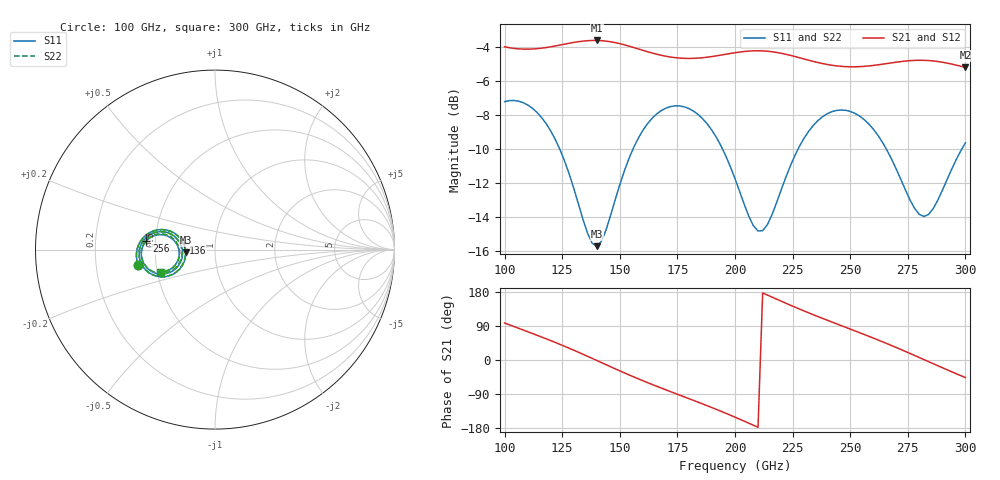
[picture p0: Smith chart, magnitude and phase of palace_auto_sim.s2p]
#  GHZ S DB R 50
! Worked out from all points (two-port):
!   101 points, 100 GHz to 300 GHz, reference 50 ohm
!   highest |S21| = -3.61 dB at 140 GHz (marker M1); lowest = -5.2 dB at 300 GHz (marker M2)
!   |S21| within 3 dB of the highest: start of sweep to end of sweep
!   lowest |S11| = -15.7 dB at 140 GHz (marker M3), VSWR 1.39, Z = 36 - j1.1 ohm
!   |S11| at or under -10 dB: 123.9 GHz to 155.7 GHz (31.83 GHz wide, 22.8 % of centre); 194.6 GHz to 227.4 GHz (32.83 GHz wide, 15.6 % of centre); 265.7 GHz to 298.5 GHz (32.8 GHz wide, 11.6 % of centre)
!   |S22| runs from -15.6 to -7.1 dB; largest |S21 - S12| = 1e-13
!   S11 on the Smith chart (normalised r, x): 100 GHz: 0.40, -0.09; 136 GHz: 0.70, +0.05; 256 GHz: 0.44, +0.05; 300 GHz: 0.52, -0.15
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100  -7.21 -168.4  -3.99 97.7  -3.99 97.7  -7.21 -168.4
108  -7.27 179.3  -4.12 79.3  -4.12 79.3  -7.26 179.3
118  -8.50 165.4  -4.03 56.0  -4.03 56.0  -8.49 165.5
126  -10.70 158.0  -3.83 36.2  -3.83 36.2  -10.67 158.2
134  -14.13 163.2  -3.65 15.2  -3.65 15.2  -14.07 163.4
136  -14.96 168.8  -3.63 9.7  -3.63 9.7  -14.88 168.9
140  -15.72 -174.8  -3.61 -1.3  -3.61 -1.3  -15.63 -174.9
146  -13.91 -154.1  -3.69 -17.8  -3.69 -17.8  -13.85 -154.4
154  -10.55 -150.3  -3.95 -39.3  -3.95 -39.3  -10.53 -150.6
168  -7.74 -165.9  -4.48 -74.0  -4.48 -74.0  -7.73 -166.1
184  -7.97 172.3  -4.65 -111.3  -4.65 -111.3  -7.95 172.3
200  -11.75 160.5  -4.33 -150.8  -4.33 -150.8  -11.68 160.7
208  -14.52 173.8  -4.22 -172.1  -4.22 -172.1  -14.38 173.7
212  -14.81 -172.4  -4.23 177.0  -4.23 177.0  -14.65 -172.9
224  -11.00 -153.1  -4.49 144.8  -4.49 144.8  -10.95 -154.0
234  -8.61 -160.5  -4.85 119.5  -4.85 119.5  -8.59 -161.3
244  -7.73 -172.6  -5.11 95.6  -5.11 95.6  -7.73 -173.4
256  -8.26 172.9  -5.14 67.5  -5.14 67.5  -8.28 172.0
268  -10.61 164.0  -4.93 38.1  -4.93 38.1  -10.66 163.0
282  -13.97 -176.1  -4.78 1.1  -4.78 1.1  -14.11 -176.7
290  -12.43 -158.7  -4.89 -20.4  -4.89 -20.4  -12.53 -158.9
300  -9.64 -157.6  -5.20 -46.3  -5.20 -46.3  -9.69 -157.9
